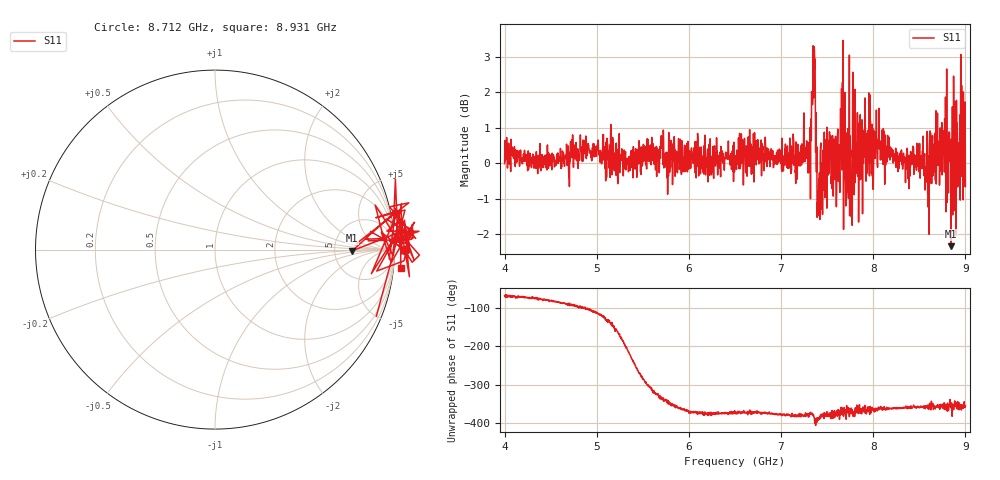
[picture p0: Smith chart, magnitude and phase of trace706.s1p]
! Created with skrf 1.8.0 (http://scikit-rf.org).
# Hz S RI R 50.0
!freq ReS11 ImS11
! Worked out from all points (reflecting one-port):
!   1601 points, 4 GHz to 9 GHz, reference 50 ohm
!   lowest |S11| = -2.3 dB at 8.844 GHz (marker M1), VSWR 7.50, Z = 375 - j11.8 ohm
!   phase of S11 starts at -68 deg and turns -288 deg over the sweep
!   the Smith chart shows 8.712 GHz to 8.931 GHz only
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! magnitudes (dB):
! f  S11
! 4 GHz  0.0
! 4.625 GHz  0.1
! 4.894 GHz  0.4
! 5.25 GHz  -0.3
! 5.709 GHz  0.4
! 5.753 GHz  -0.1
! 5.875 GHz  -0.3
! 6.5 GHz  0.1
! 7.125 GHz  0.2
! 7.294 GHz  -0.3
! 7.347 GHz  3.3
! 7.362 GHz  3.2
! 7.397 GHz  -1.1
! 7.409 GHz  -0.4
! 7.512 GHz  -0.3
! 7.616 GHz  1.0
! 7.669 GHz  0.6
! 7.703 GHz  -1.2
! 7.75 GHz  0.8
! 7.803 GHz  2.1
! 7.962 GHz  1.9
! 8.375 GHz  -0.1
! 8.522 GHz  0.2
! 8.581 GHz  0.1
! 8.759 GHz  0.6
! 8.844 GHz  -2.3
! 8.972 GHz  0.6
! 9 GHz  -0.7
